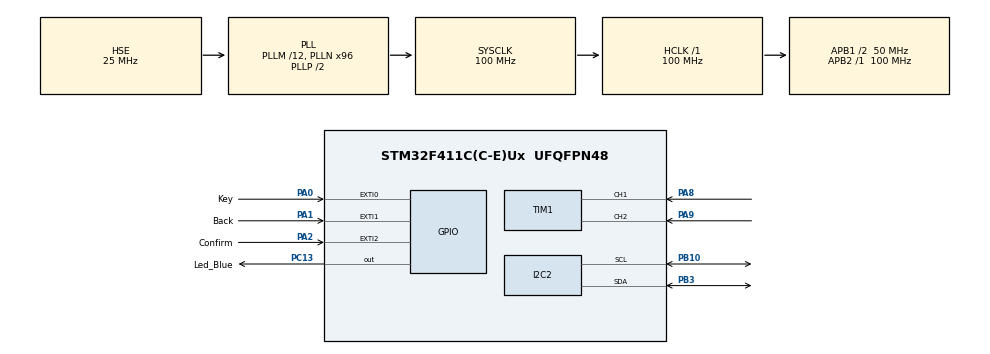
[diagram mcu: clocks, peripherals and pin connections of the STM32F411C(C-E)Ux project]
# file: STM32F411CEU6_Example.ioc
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I2C2.I2C_Mode=I2C_Fast
Mcu.Family=STM32F4
Mcu.Name=STM32F411C(C-E)Ux
Mcu.Package=UFQFPN48
NVIC.PriorityGroup=NVIC_PRIORITYGROUP_4
PA0-WKUP.GPIO_Label=Key
PA0-WKUP.Signal=GPXTI0
PA1.GPIO_Label=Back
PA1.Signal=GPXTI1
PA13.Mode=Serial_Wire
PA13.Signal=SYS_JTMS-SWDIO
PA14.Mode=Serial_Wire
PA14.Signal=SYS_JTCK-SWCLK
PA2.GPIO_Label=Confirm
PA2.Signal=GPXTI2
PA8.Signal=S_TIM1_CH1
PA9.Signal=S_TIM1_CH2
PB10.Mode=I2C
PB10.Signal=I2C2_SCL
PB3.Mode=I2C
PB3.Signal=I2C2_SDA
PC13-ANTI_TAMP.GPIO_Label=Led_Blue
PC13-ANTI_TAMP.PinState=GPIO_PIN_SET
PC13-ANTI_TAMP.Signal=GPIO_Output
PC14-OSC32_IN.Mode=LSE-External-Oscillator
PC14-OSC32_IN.Signal=RCC_OSC32_IN
PC15-OSC32_OUT.Mode=LSE-External-Oscillator
PC15-OSC32_OUT.Signal=RCC_OSC32_OUT
PH0\ -\ OSC_IN.Mode=HSE-External-Oscillator
PH0\ -\ OSC_IN.Signal=RCC_OSC_IN
PH1\ -\ OSC_OUT.Mode=HSE-External-Oscillator
PH1\ -\ OSC_OUT.Signal=RCC_OSC_OUT
ProjectManager.HeapSize=0x200
ProjectManager.StackSize=0x400
ProjectManager.TargetToolchain=MDK-ARM V5.32
RCC.48MHZClocksFreq_Value=50000000
RCC.AHBFreq_Value=100000000
RCC.APB1CLKDivider=RCC_HCLK_DIV2
RCC.APB1Freq_Value=50000000
RCC.APB1TimFreq_Value=100000000
RCC.APB2Freq_Value=100000000
RCC.APB2TimFreq_Value=100000000
RCC.CortexFreq_Value=100000000
RCC.HCLKFreq_Value=100000000
RCC.HSE_VALUE=25000000
RCC.HSI_VALUE=16000000
RCC.PLLM=12
RCC.PLLN=96
RCC.PLLSourceVirtual=RCC_PLLSOURCE_HSE
RCC.SYSCLKFreq_VALUE=100000000
RCC.SYSCLKSource=RCC_SYSCLKSOURCE_PLLCLK
RCC.VCOOutputFreq_Value=200000000
SH.S_TIM1_CH1.0=TIM1_CH1,Encoder_Interface
SH.S_TIM1_CH2.0=TIM1_CH2,Encoder_Interface
TIM1.IC1Filter=15
TIM1.IC2Filter=15
board=custom

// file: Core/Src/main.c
/* USER CODE BEGIN Header */
/**
  ******************************************************************************
  * @file           : main.c
  * @brief          : Main program body
  ******************************************************************************
  * @attention
  *
  * Copyright (c) 2024 STMicroelectronics.
  * All rights reserved.
  *
  * This software is licensed under terms that can be found in the LICENSE file
  * in the root directory of this software component.
  * If no LICENSE file comes with this software, it is provided AS-IS.
  *
  ******************************************************************************
  */
/* USER CODE END Header */
#include "main.h"
#include "i2c.h"
#include "tim.h"
#include "gpio.h"

/* USER CODE BEGIN Includes */
#include "oled.h"
#include "page.h"
#include "stdio.h"
/* USER CODE END Includes */

/* USER CODE BEGIN PV */
uint8_t PA0_Press_Flag = 0;
uint8_t Back_Press_Flag = 0;
/* USER CODE END PV */

void SystemClock_Config(void);

int main(void)
{

  /* USER CODE BEGIN 1 */
  home_page = PAGE_CreatPage("Home", 4, NULL);
  home_page->list[0] = PAGE_CreatPage("List", 2, home_page);
  home_page->list[1] = PAGE_CreatPage("Text", 0, home_page);
  home_page->list[2] = PAGE_CreatPage("Image", 0, home_page);
  home_page->list[3] = PAGE_CreatPage("Options", 2, home_page);
  home_page->last = home_page;

  home_page->list[0]->list[0] = PAGE_CreatPage("lies->1", 0, home_page->list[0]);
  home_page->list[0]->list[1] = PAGE_CreatPage("list->2", 0, home_page->list[0]);

  PAGE_WriteText(home_page->list[1], "Hello World");

  PAGE_WriteImage(home_page->list[2], &bilibiliImg);

  page_now = home_page->list[3];
  page_now->list[0] = PAGE_CreatPage("Language", 0, page_now);
  page_now->list[1] = PAGE_CreatPage("Font", 0, page_now);

  page_now = home_page;
  /* USER CODE END 1 */

  /* MCU Configuration--------------------------------------------------------*/

  /* Reset of all peripherals, Initializes the Flash interface and the Systick. */
  HAL_Init();

  /* Configure the system clock */
  SystemClock_Config();

  /* Initialize all configured peripherals */
  MX_GPIO_Init();
  MX_I2C2_Init();
  MX_TIM1_Init();
  /* USER CODE BEGIN 2 */
  HAL_TIM_Encoder_Start(&htim1, TIM_CHANNEL_ALL);
  OLED_Init();
  OLED_NewFrame();
  // PAGE_PrintPage(home_page);
  OLED_ShowFrame();
  /* USER CODE END 2 */

  /* Infinite loop */
  /* USER CODE BEGIN WHILE */
  while (1)
  {
    OLED_NewFrame();
    PAGE_ReadEncoder(page_now);
    PAGE_PrintPage(page_now);
    OLED_ShowFrame();
    /* USER CODE END WHILE */

    /* USER CODE BEGIN 3 */
    if (PA0_Press_Flag == 1 && page_now->brunch_num != 0)
    {
      page_now = page_now->list[page_now->pointer_now];
      PA0_Press_Flag = 0;
    }
    if (Back_Press_Flag == 1)
    {
      page_now = page_now->last;
      Back_Press_Flag = 0;
    }
  }
  /* USER CODE END 3 */
}

void SystemClock_Config(void)
{
  RCC_OscInitTypeDef RCC_OscInitStruct = {0};
  RCC_ClkInitTypeDef RCC_ClkInitStruct = {0};

  /** Configure the main internal regulator output voltage
  */
  __HAL_RCC_PWR_CLK_ENABLE();
  __HAL_PWR_VOLTAGESCALING_CONFIG(PWR_REGULATOR_VOLTAGE_SCALE1);

  /** Initializes the RCC Oscillators according to the specified parameters
  * in the RCC_OscInitTypeDef structure.
  */
  RCC_OscInitStruct.OscillatorType = RCC_OSCILLATORTYPE_HSE;
  RCC_OscInitStruct.HSEState = RCC_HSE_ON;
  RCC_OscInitStruct.PLL.PLLState = RCC_PLL_ON;
  RCC_OscInitStruct.PLL.PLLSource = RCC_PLLSOURCE_HSE;
  RCC_OscInitStruct.PLL.PLLM = 12;
  RCC_OscInitStruct.PLL.PLLN = 96;
  RCC_OscInitStruct.PLL.PLLP = RCC_PLLP_DIV2;
  RCC_OscInitStruct.PLL.PLLQ = 4;
  if (HAL_RCC_OscConfig(&RCC_OscInitStruct) != HAL_OK)
  {
    Error_Handler();
  }

  /** Initializes the CPU, AHB and APB buses clocks
  */
  RCC_ClkInitStruct.ClockType = RCC_CLOCKTYPE_HCLK|RCC_CLOCKTYPE_SYSCLK
                              |RCC_CLOCKTYPE_PCLK1|RCC_CLOCKTYPE_PCLK2;
  RCC_ClkInitStruct.SYSCLKSource = RCC_SYSCLKSOURCE_PLLCLK;
  RCC_ClkInitStruct.AHBCLKDivider = RCC_SYSCLK_DIV1;
  RCC_ClkInitStruct.APB1CLKDivider = RCC_HCLK_DIV2;
  RCC_ClkInitStruct.APB2CLKDivider = RCC_HCLK_DIV1;

  if (HAL_RCC_ClockConfig(&RCC_ClkInitStruct, FLASH_LATENCY_3) != HAL_OK)
  {
    Error_Handler();
  }
}

/* USER CODE BEGIN 4 */
void HAL_GPIO_EXTI_Callback(uint16_t GPIO_Pin)
{
  HAL_GPIO_TogglePin(Led_Blue_GPIO_Port, Led_Blue_Pin);
  switch (GPIO_Pin)
  {
  case Key_Pin:
    PA0_Press_Flag = 1;
    break;
  case Back_Pin:
    Back_Press_Flag = 1;
    break;
  }
}
/* USER CODE END 4 */

void Error_Handler(void)
{
  __disable_irq();
  while (1)
  {
  }
}
